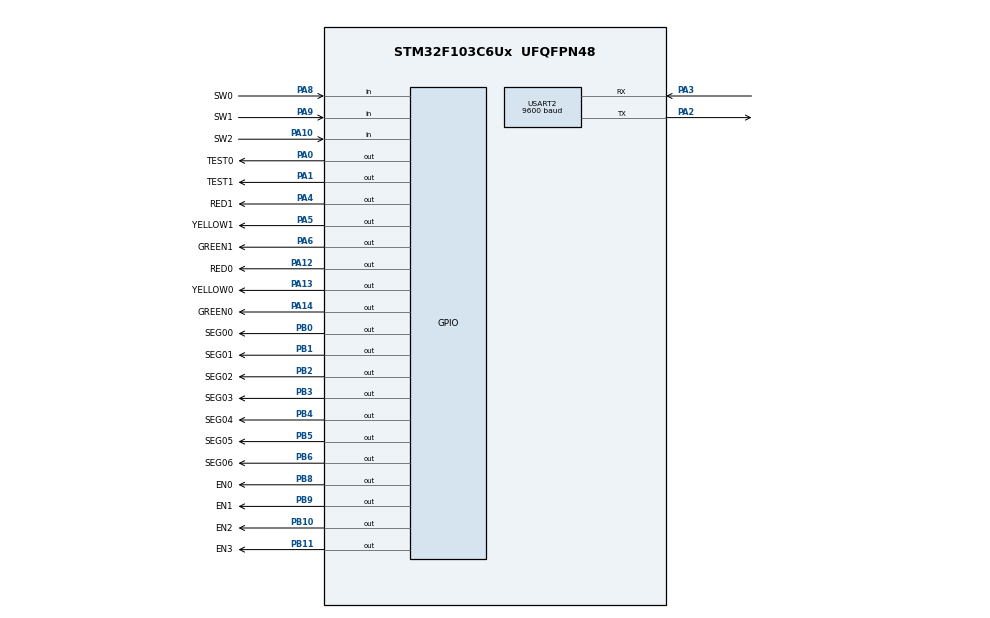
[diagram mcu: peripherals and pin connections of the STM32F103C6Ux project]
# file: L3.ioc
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Mcu.Family=STM32F1
Mcu.Name=STM32F103C6Ux
Mcu.Package=UFQFPN48
NVIC.PriorityGroup=NVIC_PRIORITYGROUP_4
NVIC.TIM2_IRQn=true\:0\:0\:false\:false\:true\:true\:true
NVIC.USART2_IRQn=true\:0\:0\:false\:false\:true\:true\:true
PA0-WKUP.GPIO_Label=TEST0
PA0-WKUP.Signal=GPIO_Output
PA1.GPIO_Label=TEST1
PA1.Signal=GPIO_Output
PA10.GPIO_Label=SW2
PA10.Signal=GPIO_Input
PA12.GPIO_Label=RED0
PA12.Signal=GPIO_Output
PA13.GPIO_Label=YELLOW0
PA13.Signal=GPIO_Output
PA14.GPIO_Label=GREEN0
PA14.Signal=GPIO_Output
PA2.Mode=Asynchronous
PA2.Signal=USART2_TX
PA3.Mode=Asynchronous
PA3.Signal=USART2_RX
PA4.GPIO_Label=RED1
PA4.Signal=GPIO_Output
PA5.GPIO_Label=YELLOW1
PA5.Signal=GPIO_Output
PA6.GPIO_Label=GREEN1
PA6.Signal=GPIO_Output
PA8.GPIO_Label=SW0
PA8.Signal=GPIO_Input
PA9.GPIO_Label=SW1
PA9.Signal=GPIO_Input
PB0.GPIO_Label=SEG00
PB0.Signal=GPIO_Output
PB1.GPIO_Label=SEG01
PB1.Signal=GPIO_Output
PB10.GPIO_Label=EN2
PB10.Signal=GPIO_Output
PB11.GPIO_Label=EN3
PB11.Signal=GPIO_Output
PB2.GPIO_Label=SEG02
PB2.Signal=GPIO_Output
PB3.GPIO_Label=SEG03
PB3.Signal=GPIO_Output
PB4.GPIO_Label=SEG04
PB4.Signal=GPIO_Output
PB5.GPIO_Label=SEG05
PB5.Signal=GPIO_Output
PB6.GPIO_Label=SEG06
PB6.Signal=GPIO_Output
PB8.GPIO_Label=EN0
PB8.Signal=GPIO_Output
PB9.GPIO_Label=EN1
PB9.Signal=GPIO_Output
ProjectManager.HeapSize=0x200
ProjectManager.StackSize=0x400
ProjectManager.TargetToolchain=STM32CubeIDE
RCC.AHBFreq_Value=8000000
RCC.APB1Freq_Value=8000000
RCC.APB1TimFreq_Value=8000000
RCC.APB2Freq_Value=8000000
RCC.APB2TimFreq_Value=8000000
RCC.HCLKFreq_Value=8000000
TIM2.Period=99
TIM2.Prescaler=799
USART2.BaudRate=9600
USART2.VirtualMode=VM_ASYNC
VP_SYS_VS_ND.Mode=No_Debug
VP_TIM2_VS_ClockSourceINT.Mode=Internal
board=custom

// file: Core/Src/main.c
/* USER CODE BEGIN Header */
/**
  ******************************************************************************
  * @file           : main.c
  * @brief          : Main program body
  ******************************************************************************
  * @attention
  *
  * <h2><center>&copy; Copyright (c) 2023 STMicroelectronics.
  * All rights reserved.</center></h2>
  *
  * This software component is licensed by ST under BSD 3-Clause license,
  * the "License"; You may not use this file except in compliance with the
  * License. You may obtain a copy of the License at:
  *                        opensource.org/licenses/BSD-3-Clause
  *
  ******************************************************************************
  */
/* USER CODE END Header */
#include "main.h"

/* USER CODE BEGIN Includes */
#include "input_processing.h"
#include "input_reading.h"
//#include "timerMCU.h"
#include "hardware_processing.h"
#include "scheduler.h"
#include "stdio.h"
/* USER CODE END Includes */

TIM_HandleTypeDef htim2;

UART_HandleTypeDef huart2;

void SystemClock_Config(void);
static void MX_TIM2_Init(void);
static void MX_GPIO_Init(void);
static void MX_USART2_UART_Init(void);

/* USER CODE BEGIN 0 */
uint8_t temp=0;
int test1Index;
uint8_t mode = INIT;
/*, end_flag = 0;

void HAL_UART_RxCpltCallback(UART_HandleTypeDef *huart){
	if(huart->Instance == USART2){
		HAL_UART_Transmit(&huart2, &temp, 1, 50);
		if(temp=='!') end_flag = 1;
	}
}*/

void testAt0(){
	HAL_GPIO_TogglePin(TEST0_GPIO_Port, TEST0_Pin);
}

void testAt1(){
	HAL_GPIO_TogglePin(TEST1_GPIO_Port, TEST1_Pin);
	SCH_Delete_Task(test1Index);
}
/* USER CODE END 0 */

int main(void)
{

  /* MCU Configuration--------------------------------------------------------*/

  /* Reset of all peripherals, Initializes the Flash interface and the Systick. */
  HAL_Init();

  /* Configure the system clock */
  SystemClock_Config();

  /* Initialize all configured peripherals */
  MX_TIM2_Init();
  MX_GPIO_Init();
  MX_USART2_UART_Init();
  /* USER CODE BEGIN 2 */
  HAL_TIM_Base_Start_IT(&htim2);
  //HAL_UART_Receive_IT(&huart2, &temp, 1);
  /* USER CODE END 2 */

  /* Infinite loop */
  /* USER CODE BEGIN WHILE */
  SCH_Add_Task(testAt0, 0, 0);
  test1Index = SCH_Add_Task(testAt1, 10, 1000);
  SCH_Add_Task(button_reading, 21, 10);
  SCH_Add_Task(fsm_automatic, 31, MAIN_MODE_PERIOD);
  SCH_Add_Task(buffer_processing, 51, 1000);
  SCH_Add_Task(led_processing, 71, 250);
  SCH_Add_Task(update7SegMain, 111, 250);
  SCH_Add_Task(displayAll, 131, 10);
  while (1)
  {
	  //char str[40];
	  //HAL_UART_Transmit(&huart2, (void*)str, sprintf(str, "Dispatching task\r\n"), 200);
	  //if(end_flag)SCH_Force_End();
	  //else
	  SCH_Dispatch_Tasks();
    /* USER CODE END WHILE */

  }
}

void SystemClock_Config(void)
{
  RCC_OscInitTypeDef RCC_OscInitStruct = {0};
  RCC_ClkInitTypeDef RCC_ClkInitStruct = {0};

  /** Initializes the RCC Oscillators according to the specified parameters
  * in the RCC_OscInitTypeDef structure.
  */
  RCC_OscInitStruct.OscillatorType = RCC_OSCILLATORTYPE_HSI;
  RCC_OscInitStruct.HSIState = RCC_HSI_ON;
  RCC_OscInitStruct.HSICalibrationValue = RCC_HSICALIBRATION_DEFAULT;
  RCC_OscInitStruct.PLL.PLLState = RCC_PLL_NONE;
  if (HAL_RCC_OscConfig(&RCC_OscInitStruct) != HAL_OK)
  {
    Error_Handler();
  }
  /** Initializes the CPU, AHB and APB buses clocks
  */
  RCC_ClkInitStruct.ClockType = RCC_CLOCKTYPE_HCLK|RCC_CLOCKTYPE_SYSCLK
                              |RCC_CLOCKTYPE_PCLK1|RCC_CLOCKTYPE_PCLK2;
  RCC_ClkInitStruct.SYSCLKSource = RCC_SYSCLKSOURCE_HSI;
  RCC_ClkInitStruct.AHBCLKDivider = RCC_SYSCLK_DIV1;
  RCC_ClkInitStruct.APB1CLKDivider = RCC_HCLK_DIV1;
  RCC_ClkInitStruct.APB2CLKDivider = RCC_HCLK_DIV1;

  if (HAL_RCC_ClockConfig(&RCC_ClkInitStruct, FLASH_LATENCY_0) != HAL_OK)
  {
    Error_Handler();
  }
}

static void MX_TIM2_Init(void)
{

  TIM_ClockConfigTypeDef sClockSourceConfig = {0};
  TIM_MasterConfigTypeDef sMasterConfig = {0};

  htim2.Instance = TIM2;
  htim2.Init.Prescaler = 799;
  htim2.Init.CounterMode = TIM_COUNTERMODE_UP;
  htim2.Init.Period = 99;
  htim2.Init.ClockDivision = TIM_CLOCKDIVISION_DIV1;
  htim2.Init.AutoReloadPreload = TIM_AUTORELOAD_PRELOAD_DISABLE;
  if (HAL_TIM_Base_Init(&htim2) != HAL_OK)
  {
    Error_Handler();
  }
  sClockSourceConfig.ClockSource = TIM_CLOCKSOURCE_INTERNAL;
  if (HAL_TIM_ConfigClockSource(&htim2, &sClockSourceConfig) != HAL_OK)
  {
    Error_Handler();
  }
  sMasterConfig.MasterOutputTrigger = TIM_TRGO_RESET;
  sMasterConfig.MasterSlaveMode = TIM_MASTERSLAVEMODE_DISABLE;
  if (HAL_TIMEx_MasterConfigSynchronization(&htim2, &sMasterConfig) != HAL_OK)
  {
    Error_Handler();
  }

}

static void MX_USART2_UART_Init(void)
{

  huart2.Instance = USART2;
  huart2.Init.BaudRate = 9600;
  huart2.Init.WordLength = UART_WORDLENGTH_8B;
  huart2.Init.StopBits = UART_STOPBITS_1;
  huart2.Init.Parity = UART_PARITY_NONE;
  huart2.Init.Mode = UART_MODE_TX_RX;
  huart2.Init.HwFlowCtl = UART_HWCONTROL_NONE;
  huart2.Init.OverSampling = UART_OVERSAMPLING_16;
  if (HAL_UART_Init(&huart2) != HAL_OK)
  {
    Error_Handler();
  }

}

static void MX_GPIO_Init(void)
{
  GPIO_InitTypeDef GPIO_InitStruct = {0};

  /* GPIO Ports Clock Enable */
  __HAL_RCC_GPIOA_CLK_ENABLE();
  __HAL_RCC_GPIOB_CLK_ENABLE();

  /*Configure GPIO pin Output Level */
  HAL_GPIO_WritePin(GPIOA, TEST0_Pin|TEST1_Pin|RED1_Pin|YELLOW1_Pin
                          |GREEN1_Pin|RED0_Pin|YELLOW0_Pin|GREEN0_Pin, GPIO_PIN_RESET);

  /*Configure GPIO pin Output Level */
  HAL_GPIO_WritePin(GPIOB, SEG00_Pin|SEG01_Pin|SEG02_Pin|EN2_Pin
                          |EN3_Pin|SEG03_Pin|SEG04_Pin|SEG05_Pin
                          |SEG06_Pin|EN0_Pin|EN1_Pin, GPIO_PIN_RESET);

  /*Configure GPIO pins : TEST0_Pin TEST1_Pin RED1_Pin YELLOW1_Pin
                           GREEN1_Pin RED0_Pin YELLOW0_Pin GREEN0_Pin */
  GPIO_InitStruct.Pin = TEST0_Pin|TEST1_Pin|RED1_Pin|YELLOW1_Pin
                          |GREEN1_Pin|RED0_Pin|YELLOW0_Pin|GREEN0_Pin;
  GPIO_InitStruct.Mode = GPIO_MODE_OUTPUT_PP;
  GPIO_InitStruct.Pull = GPIO_NOPULL;
  GPIO_InitStruct.Speed = GPIO_SPEED_FREQ_LOW;
  HAL_GPIO_Init(GPIOA, &GPIO_InitStruct);

  /*Configure GPIO pins : SEG00_Pin SEG01_Pin SEG02_Pin EN2_Pin
                           EN3_Pin SEG03_Pin SEG04_Pin SEG05_Pin
                           SEG06_Pin EN0_Pin EN1_Pin */
  GPIO_InitStruct.Pin = SEG00_Pin|SEG01_Pin|SEG02_Pin|EN2_Pin
                          |EN3_Pin|SEG03_Pin|SEG04_Pin|SEG05_Pin
                          |SEG06_Pin|EN0_Pin|EN1_Pin;
  GPIO_InitStruct.Mode = GPIO_MODE_OUTPUT_PP;
  GPIO_InitStruct.Pull = GPIO_NOPULL;
  GPIO_InitStruct.Speed = GPIO_SPEED_FREQ_LOW;
  HAL_GPIO_Init(GPIOB, &GPIO_InitStruct);

  /*Configure GPIO pins : SW0_Pin SW1_Pin SW2_Pin */
  GPIO_InitStruct.Pin = SW0_Pin|SW1_Pin|SW2_Pin;
  GPIO_InitStruct.Mode = GPIO_MODE_INPUT;
  GPIO_InitStruct.Pull = GPIO_NOPULL;
  HAL_GPIO_Init(GPIOA, &GPIO_InitStruct);

}

/* USER CODE BEGIN 4 */
void HAL_TIM_PeriodElapsedCallback ( TIM_HandleTypeDef * htim )
{
	//if(!end_flag){
		SCH_Update();
		//uint32_t currentTick = HAL_GetTick();
		//uint32_t elapsed = currentTick - triggerCallback;
		//triggerCallback = currentTick;
		//HAL_UART_Transmit(&huart2, (void*)str, sprintf(str, "ELAPSED TIME: %lu\r\n", elapsed), 50);
	//}
}
/* USER CODE END 4 */

void Error_Handler(void)
{
  __disable_irq();
  while (1)
  {
  }
}

/************************ (C) COPYRIGHT STMicroelectronics *****END OF FILE****/
